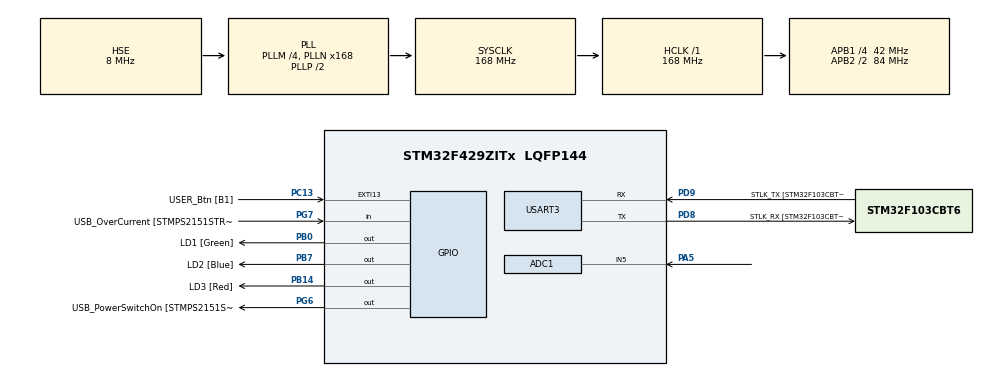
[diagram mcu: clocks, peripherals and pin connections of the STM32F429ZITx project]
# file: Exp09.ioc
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ADC1.Channel-3\#ChannelRegularConversion=ADC_CHANNEL_5
ADC1.ExternalTrigConv=ADC_EXTERNALTRIGCONV_T2_TRGO
ADC1.NbrOfConversionFlag=1
ADC1.Rank-3\#ChannelRegularConversion=1
ADC1.Resolution=ADC_RESOLUTION_12B
ADC1.SamplingTime-3\#ChannelRegularConversion=ADC_SAMPLETIME_3CYCLES
ADC1.master=1
Dma.ADC1.0.Direction=DMA_PERIPH_TO_MEMORY
Dma.ADC1.0.FIFOMode=DMA_FIFOMODE_DISABLE
Dma.ADC1.0.Instance=DMA2_Stream0
Dma.ADC1.0.MemDataAlignment=DMA_MDATAALIGN_HALFWORD
Dma.ADC1.0.MemInc=DMA_MINC_ENABLE
Dma.ADC1.0.Mode=DMA_CIRCULAR
Dma.ADC1.0.PeriphDataAlignment=DMA_PDATAALIGN_HALFWORD
Dma.ADC1.0.PeriphInc=DMA_PINC_DISABLE
Dma.ADC1.0.Priority=DMA_PRIORITY_LOW
Dma.Request0=ADC1
Dma.Request1=USART3_TX
Dma.USART3_TX.1.Direction=DMA_MEMORY_TO_PERIPH
Dma.USART3_TX.1.FIFOMode=DMA_FIFOMODE_DISABLE
Dma.USART3_TX.1.Instance=DMA1_Stream3
Dma.USART3_TX.1.MemDataAlignment=DMA_MDATAALIGN_BYTE
Dma.USART3_TX.1.MemInc=DMA_MINC_ENABLE
Dma.USART3_TX.1.Mode=DMA_NORMAL
Dma.USART3_TX.1.PeriphDataAlignment=DMA_PDATAALIGN_BYTE
Dma.USART3_TX.1.PeriphInc=DMA_PINC_DISABLE
Dma.USART3_TX.1.Priority=DMA_PRIORITY_LOW
Mcu.Family=STM32F4
Mcu.Name=STM32F429ZITx
Mcu.Package=LQFP144
NVIC.ADC_IRQn=true\:0\:0\:false\:false\:true\:true\:true
NVIC.DMA1_Stream3_IRQn=true\:0\:0\:false\:false\:true\:false\:true
NVIC.DMA2_Stream0_IRQn=true\:0\:0\:false\:false\:true\:false\:true
NVIC.PriorityGroup=NVIC_PRIORITYGROUP_4
NVIC.USART3_IRQn=true\:1\:0\:true\:false\:true\:true\:true
PA1.GPIO_Label=RMII_REF_CLK [LAN8742A-CZ-TR_REFCLK0]
PA1.Signal=ETH_REF_CLK
PA10.GPIO_Label=USB_ID
PA10.Signal=USB_OTG_FS_ID
PA11.GPIO_Label=USB_DM
PA11.Signal=USB_OTG_FS_DM
PA12.GPIO_Label=USB_DP
PA12.Signal=USB_OTG_FS_DP
PA13.GPIO_Label=TMS
PA13.Mode=Serial_Wire
PA13.Signal=SYS_JTMS-SWDIO
PA14.GPIO_Label=TCK
PA14.Mode=Serial_Wire
PA14.Signal=SYS_JTCK-SWCLK
PA2.GPIO_Label=RMII_MDIO [LAN8742A-CZ-TR_MDIO]
PA2.Signal=ETH_MDIO
PA5.Signal=ADCx_IN5
PA7.GPIO_Label=RMII_CRS_DV [LAN8742A-CZ-TR_CRS_DV]
PA7.Signal=ETH_CRS_DV
PA8.GPIO_Label=USB_SOF [TP1]
PA8.Signal=USB_OTG_FS_SOF
PA9.GPIO_Label=USB_VBUS
PA9.Signal=USB_OTG_FS_VBUS
PB0.GPIO_Label=LD1 [Green]
PB0.Signal=GPIO_Output
PB13.GPIO_Label=RMII_TXD1 [LAN8742A-CZ-TR_TXD1]
PB13.Signal=ETH_TXD1
PB14.GPIO_Label=LD3 [Red]
PB14.Signal=GPIO_Output
PB7.GPIO_Label=LD2 [Blue]
PB7.Signal=GPIO_Output
PC1.GPIO_Label=RMII_MDC [LAN8742A-CZ-TR_MDC]
PC1.Signal=ETH_MDC
PC13.GPIO_Label=USER_Btn [B1]
PC13.Signal=GPXTI13
PC14/OSC32_IN.Mode=LSE-External-Oscillator
PC14/OSC32_IN.Signal=RCC_OSC32_IN
PC15/OSC32_OUT.Mode=LSE-External-Oscillator
PC15/OSC32_OUT.Signal=RCC_OSC32_OUT
PC4.GPIO_Label=RMII_RXD0 [LAN8742A-CZ-TR_RXD0]
PC4.Signal=ETH_RXD0
PC5.GPIO_Label=RMII_RXD1 [LAN8742A-CZ-TR_RXD1]
PC5.Signal=ETH_RXD1
PD8.GPIO_Label=STLK_RX [STM32F103CBT6_PA3]
PD8.Mode=Asynchronous
PD8.Signal=USART3_TX
PD9.GPIO_Label=STLK_TX [STM32F103CBT6_PA2]
PD9.Mode=Asynchronous
PD9.Signal=USART3_RX
PG11.GPIO_Label=RMII_TX_EN [LAN8742A-CZ-TR_TXEN]
PG11.Signal=ETH_TX_EN
PG13.GPIO_Label=RMII_TXD0 [LAN8742A-CZ-TR_TXD0]
PG13.Signal=ETH_TXD0
PG6.GPIO_Label=USB_PowerSwitchOn [STMPS2151STR_EN]
PG6.Signal=GPIO_Output
PG7.GPIO_Label=USB_OverCurrent [STMPS2151STR_FAULT]
PG7.Signal=GPIO_Input
PH0/OSC_IN.GPIO_Label=MCO [STM32F103CBT6_PA8]
PH0/OSC_IN.Mode=HSE-External-Clock-Source
PH0/OSC_IN.Signal=RCC_OSC_IN
PH1/OSC_OUT.Mode=HSE-External-Clock-Source
PH1/OSC_OUT.Signal=RCC_OSC_OUT
ProjectManager.HeapSize=0x200
ProjectManager.StackSize=0x400
ProjectManager.TargetToolchain=MDK-ARM V5.27
RCC.48MHZClocksFreq_Value=48000000
RCC.AHBFreq_Value=168000000
RCC.APB1CLKDivider=RCC_HCLK_DIV4
RCC.APB1Freq_Value=42000000
RCC.APB1TimFreq_Value=84000000
RCC.APB2CLKDivider=RCC_HCLK_DIV2
RCC.APB2Freq_Value=84000000
RCC.APB2TimCLKDivider=2
RCC.APB2TimFreq_Value=168000000
RCC.CortexFreq_Value=168000000
RCC.HCLKFreq_Value=168000000
RCC.HSE_VALUE=8000000
RCC.HSI_VALUE=16000000
RCC.PLLM=4
RCC.PLLMUL=RCC_PLL_MUL9
RCC.PLLN=168
RCC.PLLQ=7
RCC.PLLSourceVirtual=RCC_PLLSOURCE_HSE
RCC.PRESCALERUSB=RCC_USBCLKSOURCE_PLL_DIV1_5
RCC.SYSCLKFreq_VALUE=168000000
RCC.SYSCLKSource=RCC_SYSCLKSOURCE_PLLCLK
RCC.SYSCLKSourceVirtual=RCC_SYSCLKSOURCE_PLLCLK
RCC.USBFreq_Value=48000000
RCC.VCOOutputFreq_Value=336000000
SH.ADCx_IN5.0=ADC1_IN5,IN5
TIM2.Period=84
TIM2.TIM_MasterOutputTrigger=TIM_TRGO_UPDATE
USART3.VirtualMode=VM_ASYNC
VP_TIM2_VS_ClockSourceINT.Mode=Internal
board=NUCLEO-F429ZI

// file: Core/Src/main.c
/* USER CODE BEGIN Header */
/**
  ******************************************************************************
  * @file           : main.c
  * @brief          : Main program body
  ******************************************************************************
  * @attention
  *
  * <h2><center>&copy; Copyright (c) 2021 STMicroelectronics.
  * All rights reserved.</center></h2>
  *
  * This software component is licensed by ST under BSD 3-Clause license,
  * the "License"; You may not use this file except in compliance with the
  * License. You may obtain a copy of the License at:
  *                        opensource.org/licenses/BSD-3-Clause
  *
	* Acquire data with trigger, no pretrigger data acquired.
	*
  ******************************************************************************
  */
/* USER CODE END Header */
#include "main.h"
#include "adc.h"
#include "dma.h"
#include "tim.h"
#include "usart.h"
#include "gpio.h"

/* USER CODE BEGIN PD */
#define SIZE 2000
/* USER CODE END PD */

/* USER CODE BEGIN PV */
volatile uint16_t buffer[SIZE+1];
volatile uint16_t buffer_index;
/* USER CODE END PV */

void SystemClock_Config(void);

int main(void)
{

  /* MCU Configuration--------------------------------------------------------*/

  /* Reset of all peripherals, Initializes the Flash interface and the Systick. */
  HAL_Init();

  /* Configure the system clock */
  SystemClock_Config();

  /* Initialize all configured peripherals */
  MX_GPIO_Init();
  MX_DMA_Init();
  MX_ADC1_Init();
  MX_USART3_UART_Init();
  MX_TIM2_Init();
  /* USER CODE BEGIN 2 */

	/* Setup ADC */

	//Select 1 conversions for each sequence
	ADC1->SQR1 = 0;
	//Select channel 5 (PA5)
	ADC1->SQR3 = 0x0;
	ADC1->SQR3 |= ADC_SQR3_SQ1_0;
	ADC1->SQR3 |= ADC_SQR3_SQ1_2;
	//Set EOC flag at the end of each conversion
	ADC1->CR2 |= ADC_CR2_EOCS;
	//Enable ADC overrun interrupt
	ADC1->CR1 &= ~ADC_CR1_OVRIE;

	ADC1->CR1 &= ~ADC_CR1_EOCIE;

	//Turn on scan mode
	ADC1->CR1 |= ADC_CR1_SCAN;
	//Turn on DMA mode!!
	ADC1->CR2 |= ADC_CR2_DMA;

	/* Setup UART */

	//Enable UART and RX interrupt
	USART3->CR1 |= USART_CR1_UE;
	USART3->CR1 &= ~USART_CR1_TCIE;
	USART3->CR1 |= USART_CR1_RXNEIE;
	//Turn on DMA on transmission
	USART3->CR3 |= USART_CR3_DMAT;

	/* setup DMA2 stream 0 - ADC */
	//set number of elements
	DMA2_Stream0->NDTR = SIZE;
	//set source peripheral address
	DMA2_Stream0->PAR = (uint32_t) &ADC1->DR;
	//set destination memory address
	DMA2_Stream0->M0AR = (uint32_t) buffer;
	//set half word memory data size
	DMA2_Stream0->CR |= DMA_SxCR_MSIZE_0;
	//set half word peripheral size
	DMA2_Stream0->CR |= DMA_SxCR_PSIZE_0;
	//enable transfer complete interrupt
	//DMA2_Stream0->CR |= DMA_SxCR_TCIE;
	//disable transfer complete interrupt
	DMA2_Stream0->CR &= ~DMA_SxCR_TCIE;
	//enable circ mode
	DMA2_Stream0->CR |= DMA_SxCR_CIRC;

  /* Setup DMA1 UART */
	//Disable DMA
	DMA1_Stream3->CR &= ~DMA_SxCR_EN;
	//set number of elements (multiply by 2 because we send bytes)
	DMA1_Stream3->NDTR = SIZE*2 + 2;
	//set source memory address
	DMA1_Stream3->M0AR = (uint32_t) buffer;
	//set destination peripheral address
	DMA1_Stream3->PAR = (uint32_t) &USART3->DR;
	//set byte memory data size
	DMA1_Stream3->CR &= ~DMA_SxCR_MSIZE_0;
	DMA1_Stream3->CR &= ~DMA_SxCR_MSIZE_1;
	//set byte peripheral size
	DMA1_Stream3->CR &= ~DMA_SxCR_PSIZE_0;
	DMA1_Stream3->CR &= ~DMA_SxCR_PSIZE_1;
	//enable transfer complete interrupt
	DMA1_Stream3->CR |= DMA_SxCR_TCIE;

	//Turn on ADC
	ADC1->CR2 |= ADC_CR2_ADON;

	//reset ADC SR
	ADC1->SR = 0x0;
	//Set number of elements
	DMA2_Stream0->NDTR = SIZE;
	//Enable DMA2
	DMA2_Stream0->CR |= DMA_SxCR_EN;
	//Enable ADC DMA bit
	ADC1->CR2 |= ADC_CR2_DMA;
	ADC1->CR2 |= ADC_CR2_DDS;
	//Enable TTM2 (start ADC conversion)
	TIM2->CR1 |= TIM_CR1_CEN;

  /* USER CODE END 2 */

  /* Infinite loop */
  while (1)
  {

  }
}

void SystemClock_Config(void)
{
  RCC_OscInitTypeDef RCC_OscInitStruct = {0};
  RCC_ClkInitTypeDef RCC_ClkInitStruct = {0};

  /** Configure the main internal regulator output voltage
  */
  __HAL_RCC_PWR_CLK_ENABLE();
  __HAL_PWR_VOLTAGESCALING_CONFIG(PWR_REGULATOR_VOLTAGE_SCALE1);
  /** Initializes the RCC Oscillators according to the specified parameters
  * in the RCC_OscInitTypeDef structure.
  */
  RCC_OscInitStruct.OscillatorType = RCC_OSCILLATORTYPE_HSE;
  RCC_OscInitStruct.HSEState = RCC_HSE_BYPASS;
  RCC_OscInitStruct.PLL.PLLState = RCC_PLL_ON;
  RCC_OscInitStruct.PLL.PLLSource = RCC_PLLSOURCE_HSE;
  RCC_OscInitStruct.PLL.PLLM = 4;
  RCC_OscInitStruct.PLL.PLLN = 168;
  RCC_OscInitStruct.PLL.PLLP = RCC_PLLP_DIV2;
  RCC_OscInitStruct.PLL.PLLQ = 7;
  if (HAL_RCC_OscConfig(&RCC_OscInitStruct) != HAL_OK)
  {
    Error_Handler();
  }
  /** Initializes the CPU, AHB and APB buses clocks
  */
  RCC_ClkInitStruct.ClockType = RCC_CLOCKTYPE_HCLK|RCC_CLOCKTYPE_SYSCLK
                              |RCC_CLOCKTYPE_PCLK1|RCC_CLOCKTYPE_PCLK2;
  RCC_ClkInitStruct.SYSCLKSource = RCC_SYSCLKSOURCE_PLLCLK;
  RCC_ClkInitStruct.AHBCLKDivider = RCC_SYSCLK_DIV1;
  RCC_ClkInitStruct.APB1CLKDivider = RCC_HCLK_DIV4;
  RCC_ClkInitStruct.APB2CLKDivider = RCC_HCLK_DIV2;

  if (HAL_RCC_ClockConfig(&RCC_ClkInitStruct, FLASH_LATENCY_5) != HAL_OK)
  {
    Error_Handler();
  }
}

void Error_Handler(void)
{
  __disable_irq();
  while (1)
  {
  }
}

/************************ (C) COPYRIGHT STMicroelectronics *****END OF FILE****/
